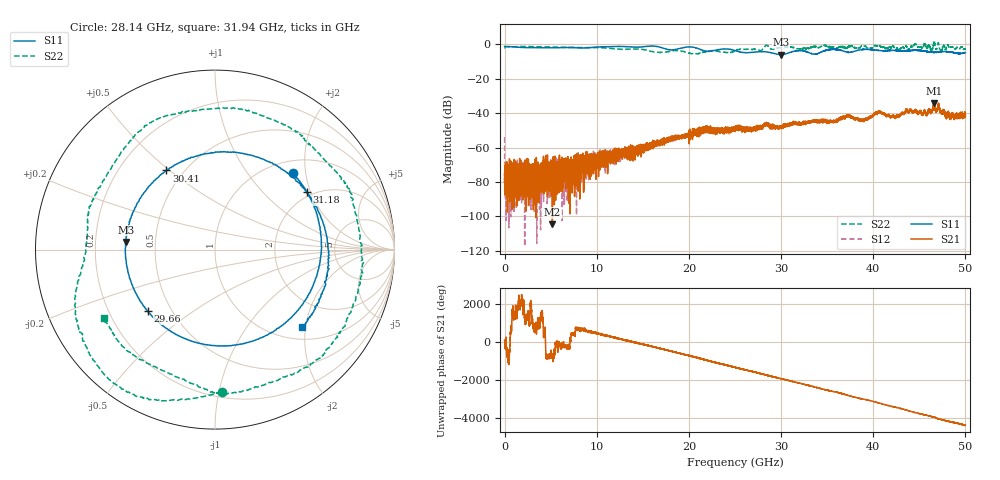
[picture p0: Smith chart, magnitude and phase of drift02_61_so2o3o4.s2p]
!Created with skrf (http://scikit-rf.org).
# Hz S RI R 50.0
!freq ReS11 ImS11 ReS21 ImS21 ReS12 ImS12 ReS22 ImS22
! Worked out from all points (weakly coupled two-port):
!   10001 points, 300 kHz to 50 GHz, reference 50 ohm
!   highest |S21| = -34.13 dB at 46.61 GHz (marker M1); lowest = -104.5 dB at 5.185 GHz (marker M2)
!   lowest |S11| = -6.1 dB at 30.01 GHz (marker M3), VSWR 2.98, Z = 16.8 + j1.92 ohm
!   |S11| at or under -10 dB: nowhere
!   |S22| runs from -5.7 to 2.2 dB; largest |S21 - S12| = 0.0032
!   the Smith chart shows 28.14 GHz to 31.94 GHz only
!   S11 on the Smith chart (normalised r, x): 28.14 GHz: 1.26, +1.70; 29.66 GHz: 0.37, -0.34; 30.41 GHz: 0.41, +0.49; 31.18 GHz: 1.86, +1.88; 31.94 GHz: 1.28, -1.92
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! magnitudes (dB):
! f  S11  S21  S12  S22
! 300 kHz  -1.3  -75.2  -54.0  -2.0
! 255.3 MHz  -1.4  -72.8  -75.4  -1.4
! 325.3 MHz  -1.3  -78.6  -79.8  -1.4
! 5.185 GHz  -2.1  -104.5  -71.0  -1.6
! 8.335 GHz  -2.2  -65.6  -66.9  -1.9
! 16.67 GHz  -1.4  -57.6  -56.6  -4.7
! 21.5 GHz  -3.5  -48.7  -49.8  -4.7
! 25 GHz  -3.7  -48.8  -49.2  -3.9
! 28.14 GHz  -4.3  -47.4  -47.0  -2.0
! 29.66 GHz  -5.9  -48.8  -47.7  -2.1
! 30.01 GHz  -6.1  -48.1  -47.8  -2.0
! 30.41 GHz  -5.7  -47.9  -47.1  -1.9
! 31.18 GHz  -4.4  -46.4  -46.5  -1.7
! 31.94 GHz  -3.7  -45.9  -46.3  -2.8
! 33.34 GHz  -5.5  -44.4  -45.0  -1.6
! 37.29 GHz  -4.8  -41.2  -40.7  -1.3
! 38.85 GHz  -3.0  -44.2  -44.5  -1.3
! 40.69 GHz  -3.7  -38.9  -39.3  -0.8
! 41.67 GHz  -3.7  -41.1  -41.4  -1.9
! 46.61 GHz  -4.7  -34.1  -35.1  2.2
! 48.54 GHz  -4.7  -41.5  -41.3  -1.6
! 50 GHz  -4.9  -40.8  -40.4  -2.7
